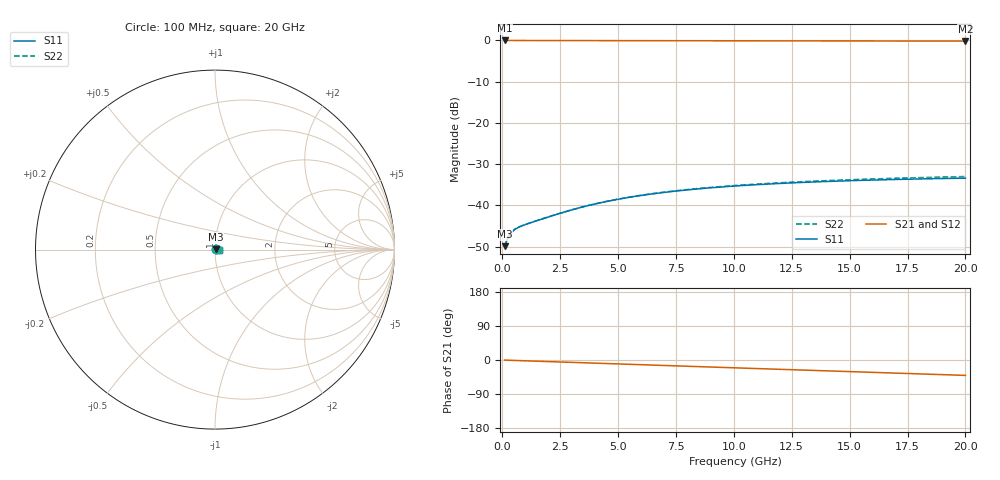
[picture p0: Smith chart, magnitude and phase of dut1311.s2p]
! Touchstone file exported from HFSS 2026.1.0
!  File:  C:/ffzhzh/LocalFiles/Ansys_Project_Files/temp_train_BSMRDL_1311_1783178362_51560.aedt
!  Generated:  11:20:28 PM Jul  4, 2026
!  Design:  BSMRDL
!  Project:  temp_train_BSMRDL_1311_1783178362_51560
! Variables:
!  h_bsmrdl = 3.76um
!  h_ox = 20um
!  h_rdl = 5um
!  h_sub = 80um
!  h_tmrdl = 5um
!  h_tsv = 80um
!  h_via = 3um
!  l_bsmrdl = 723.95um
!  l_sub = 1123.95um
!  l_tmrdl = 200um
!  m_sub = 200um
!  pitch = 29.27um
!  r_tsv = 6um
!  s_tmrdl = 10um
!  w_bsmrdl = 24.56um
!  w_sub = 500um
!  w_tmrdl = 12um
!  x_tsv_center1 = 206um
!  x_tsv_center2 = 954.51um
!  x_tsv_center3 = 1166.51um
!  x_tsv_center4 = 1915.02um
!  x_tsv_center5 = 2127.02um
!  x_tsv_center6 = 2875.53um
# GHz S MA R 50.000000
! Terminal data exported
! Port[1] = BSM_RDL1_1_T1
! Port[2] = BSM_RDL1_1_T2
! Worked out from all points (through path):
!   200 points, 100 MHz to 20 GHz, reference 50 ohm
!   highest |S21| = -0.03 dB at 100 MHz (marker M1); lowest = -0.2 dB at 20 GHz (marker M2)
!   group delay of S21, straight-line fit = 5.62 ps
!   lowest |S11| = -49.9 dB at 100 MHz (marker M3), VSWR 1.01, Z = 50.3 + j0.0823 ohm
!   |S11| at or under -10 dB: start of sweep to end of sweep
!   |S22| runs from -49.9 to -33.0 dB; largest |S21 - S12| = 2.1e-15
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0.1  0.003204 14.8  0.9969 -0.2  0.9969 -0.2  0.003204 14.8
! Gamma 0 0 0 0
! Port Impedance 50 0 50 0
0.2  0.003787 21.6  0.9965 -0.5  0.9965 -0.5  0.003787 21.7
0.3  0.004317 23.4  0.9961 -0.7  0.9961 -0.7  0.004323 23.6
0.4  0.004716 23.7  0.9957 -0.9  0.9957 -0.9  0.004729 23.8
0.5  0.005009 23.6  0.9954 -1.1  0.9954 -1.1  0.005029 23.8
0.6  0.005233 23.7  0.9952 -1.3  0.9952 -1.3  0.005258 23.7
0.7  0.005416 23.9  0.9951 -1.5  0.9951 -1.5  0.005444 23.9
0.9  0.005718 24.7  0.9948 -1.9  0.9948 -1.9  0.005749 24.7
1.1  0.005988 25.9  0.9947 -2.4  0.9947 -2.4  0.006018 25.8
2.1  0.007403 31.6  0.994 -4.4  0.994 -4.4  0.007421 31.4
2.8  0.008499 33.6  0.9934 -5.9  0.9934 -5.9  0.008515 33.4
3.5  0.009613 34.1  0.9927 -7.3  0.9927 -7.3  0.009635 33.9
4.2  0.0107 33.6  0.992 -8.8  0.992 -8.8  0.01073 33.4
5  0.01186 32.2  0.9912 -10.4  0.9912 -10.4  0.01192 32.0
5.9  0.01307 30.1  0.9902 -12.3  0.9902 -12.3  0.01315 29.8
6.8  0.01415 27.6  0.9892 -14.1  0.9892 -14.1  0.01426 27.3
8.3  0.0157 23.2  0.9877 -17.2  0.9877 -17.2  0.01586 22.8
10.1  0.0172 17.9  0.9861 -20.8  0.9861 -20.8  0.01744 17.3
11.7  0.01827 13.2  0.9848 -24.0  0.9848 -24.0  0.0186 12.5
13.4  0.01919 8.5  0.9835 -27.4  0.9835 -27.4  0.01963 7.6
16.7  0.02051 -0.4  0.9813 -34.0  0.9813 -34.0  0.0212 -1.5
20  0.02137 -8.9  0.9795 -40.6  0.9795 -40.6  0.02237 -10.3
